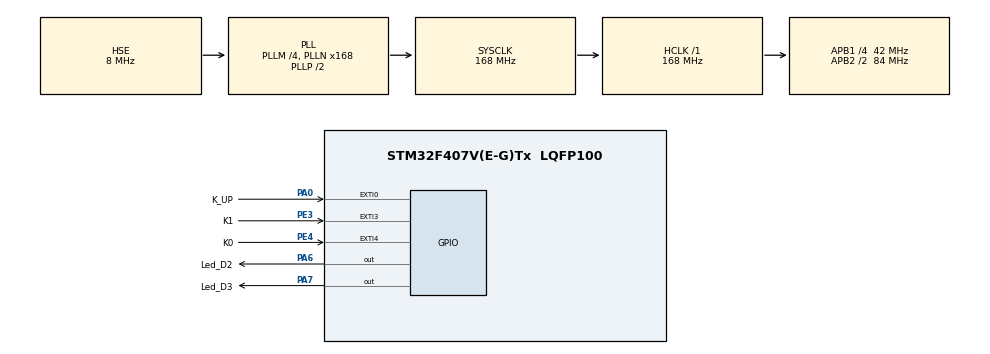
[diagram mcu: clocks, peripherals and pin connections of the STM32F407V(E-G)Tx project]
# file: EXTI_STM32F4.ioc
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Mcu.Family=STM32F4
Mcu.Name=STM32F407V(E-G)Tx
Mcu.Package=LQFP100
NVIC.EXTI0_IRQn=true\:0\:0\:true\:false\:true\:true\:true\:true
NVIC.EXTI3_IRQn=true\:0\:0\:false\:false\:true\:true\:true\:true
NVIC.EXTI4_IRQn=true\:0\:0\:false\:false\:true\:true\:true\:true
NVIC.PriorityGroup=NVIC_PRIORITYGROUP_4
PA0-WKUP.GPIO_Label=K_UP
PA0-WKUP.GPIO_ModeDefaultEXTI=GPIO_MODE_IT_RISING
PA0-WKUP.GPIO_PuPd=GPIO_PULLDOWN
PA0-WKUP.Signal=GPXTI0
PA13.Mode=Serial_Wire
PA13.Signal=SYS_JTMS-SWDIO
PA14.Mode=Serial_Wire
PA14.Signal=SYS_JTCK-SWCLK
PA6.GPIO_Label=Led_D2
PA6.PinState=GPIO_PIN_SET
PA6.Signal=GPIO_Output
PA7.GPIO_Label=Led_D3
PA7.PinState=GPIO_PIN_SET
PA7.Signal=GPIO_Output
PE3.GPIO_Label=K1
PE3.GPIO_ModeDefaultEXTI=GPIO_MODE_IT_FALLING
PE3.GPIO_PuPd=GPIO_PULLUP
PE3.Signal=GPXTI3
PE4.GPIO_Label=K0
PE4.GPIO_ModeDefaultEXTI=GPIO_MODE_IT_FALLING
PE4.GPIO_PuPd=GPIO_PULLUP
PE4.Signal=GPXTI4
PH0-OSC_IN.Mode=HSE-External-Oscillator
PH0-OSC_IN.Signal=RCC_OSC_IN
PH1-OSC_OUT.Mode=HSE-External-Oscillator
PH1-OSC_OUT.Signal=RCC_OSC_OUT
ProjectManager.HeapSize=0x200
ProjectManager.StackSize=0x400
ProjectManager.TargetToolchain=MDK-ARM V5
RCC.48MHZClocksFreq_Value=84000000
RCC.AHBFreq_Value=168000000
RCC.APB1CLKDivider=RCC_HCLK_DIV4
RCC.APB1Freq_Value=42000000
RCC.APB1TimFreq_Value=84000000
RCC.APB2CLKDivider=RCC_HCLK_DIV2
RCC.APB2Freq_Value=84000000
RCC.APB2TimFreq_Value=168000000
RCC.CortexFreq_Value=168000000
RCC.HCLKFreq_Value=168000000
RCC.HSE_VALUE=8000000
RCC.HSI_VALUE=16000000
RCC.LSE_VALUE=32768
RCC.PLLM=4
RCC.PLLN=168
RCC.PLLSourceVirtual=RCC_PLLSOURCE_HSE
RCC.SYSCLKFreq_VALUE=168000000
RCC.SYSCLKSource=RCC_SYSCLKSOURCE_PLLCLK
RCC.VCOOutputFreq_Value=336000000
board=custom

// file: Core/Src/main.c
/* USER CODE BEGIN Header */
/**
  ******************************************************************************
  * @file           : main.c
  * @brief          : Main program body
  ******************************************************************************
  * @attention
  *
  * Copyright (c) 2023 STMicroelectronics.
  * All rights reserved.
  *
  * This software is licensed under terms that can be found in the LICENSE file
  * in the root directory of this software component.
  * If no LICENSE file comes with this software, it is provided AS-IS.
  *
  ******************************************************************************
  */
/* USER CODE END Header */
#include "main.h"
#include "gpio.h"

/* USER CODE BEGIN Includes */
#include <stdio.h>
/* USER CODE END Includes */

void SystemClock_Config(void);

/* USER CODE BEGIN 0 */
int status = 0;
void HAL_GPIO_EXTI_Callback(uint16_t GPIO_Pin)
{
  /* Prevent unused argument(s) compilation warning */
  UNUSED(GPIO_Pin);
	if (GPIO_Pin == K_UP_Pin)
	{
		printf("K_UP_Pin \n");
		status = 1;
	}
	else if (GPIO_Pin == K0_Pin)
	{
		printf("K0_Pin \n");
		status = 2;
	}
	else if (GPIO_Pin == K1_Pin)
	{
		printf("K1_Pin \n");
		status = 3;
	}
  /* NOTE: This function Should not be modified, when the callback is needed,
           the HAL_GPIO_EXTI_Callback could be implemented in the user file
   */
}
/* USER CODE END 0 */

int main(void)
{

  /* MCU Configuration--------------------------------------------------------*/

  /* Reset of all peripherals, Initializes the Flash interface and the Systick. */
  HAL_Init();

  /* Configure the system clock */
  SystemClock_Config();

  /* Initialize all configured peripherals */
  MX_GPIO_Init();

  /* Infinite loop */
  while (1)
  {

    /* USER CODE BEGIN 3 */
		if ( status == 1)
		{
			for(int i=0;i<50;i++)
			{
				HAL_GPIO_TogglePin(Led_D2_GPIO_Port, Led_D3_Pin);
				HAL_Delay(200);
			}
		}
		if ( status == 2)
		{
			printf("status = 2 \n");
			HAL_GPIO_TogglePin(Led_D2_GPIO_Port, Led_D3_Pin);
			HAL_Delay(700);
		}
		if ( status == 3)
		{
			printf("status = 3 \n");
			HAL_GPIO_TogglePin(Led_D2_GPIO_Port, Led_D3_Pin);
			HAL_Delay(100);
		}

		HAL_GPIO_TogglePin(Led_D2_GPIO_Port, Led_D3_Pin);
//		HAL_Delay(100);

		for(int i =0;i<1000;i++)
		{
			printf("1");
			for(int i =0;i<100;i++)
			{
				printf("2");
			}
		}

  }
  /* USER CODE END 3 */
}

void SystemClock_Config(void)
{
  RCC_OscInitTypeDef RCC_OscInitStruct = {0};
  RCC_ClkInitTypeDef RCC_ClkInitStruct = {0};

  /** Configure the main internal regulator output voltage
  */
  __HAL_RCC_PWR_CLK_ENABLE();
  __HAL_PWR_VOLTAGESCALING_CONFIG(PWR_REGULATOR_VOLTAGE_SCALE1);

  /** Initializes the RCC Oscillators according to the specified parameters
  * in the RCC_OscInitTypeDef structure.
  */
  RCC_OscInitStruct.OscillatorType = RCC_OSCILLATORTYPE_HSE;
  RCC_OscInitStruct.HSEState = RCC_HSE_ON;
  RCC_OscInitStruct.PLL.PLLState = RCC_PLL_ON;
  RCC_OscInitStruct.PLL.PLLSource = RCC_PLLSOURCE_HSE;
  RCC_OscInitStruct.PLL.PLLM = 4;
  RCC_OscInitStruct.PLL.PLLN = 168;
  RCC_OscInitStruct.PLL.PLLP = RCC_PLLP_DIV2;
  RCC_OscInitStruct.PLL.PLLQ = 4;
  if (HAL_RCC_OscConfig(&RCC_OscInitStruct) != HAL_OK)
  {
    Error_Handler();
  }

  /** Initializes the CPU, AHB and APB buses clocks
  */
  RCC_ClkInitStruct.ClockType = RCC_CLOCKTYPE_HCLK|RCC_CLOCKTYPE_SYSCLK
                              |RCC_CLOCKTYPE_PCLK1|RCC_CLOCKTYPE_PCLK2;
  RCC_ClkInitStruct.SYSCLKSource = RCC_SYSCLKSOURCE_PLLCLK;
  RCC_ClkInitStruct.AHBCLKDivider = RCC_SYSCLK_DIV1;
  RCC_ClkInitStruct.APB1CLKDivider = RCC_HCLK_DIV4;
  RCC_ClkInitStruct.APB2CLKDivider = RCC_HCLK_DIV2;

  if (HAL_RCC_ClockConfig(&RCC_ClkInitStruct, FLASH_LATENCY_5) != HAL_OK)
  {
    Error_Handler();
  }
}

void Error_Handler(void)
{
  __disable_irq();
  while (1)
  {
  }
}
